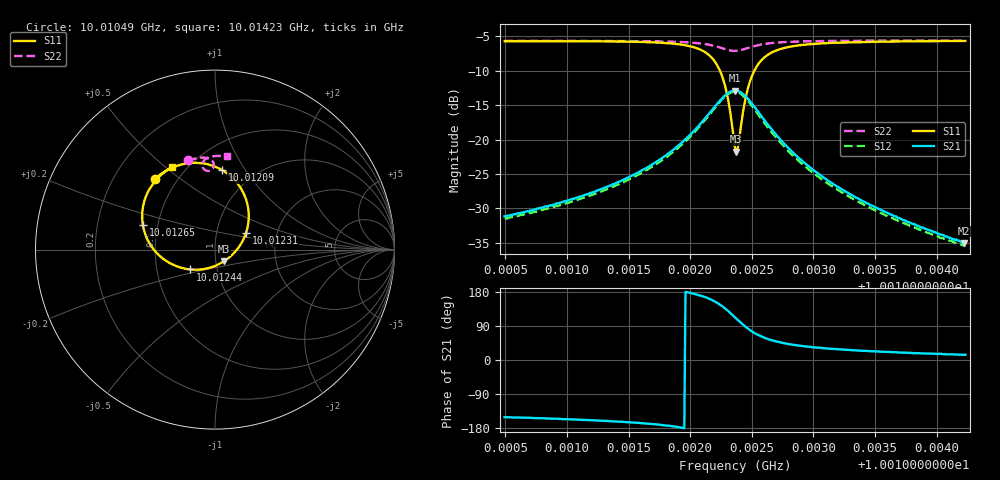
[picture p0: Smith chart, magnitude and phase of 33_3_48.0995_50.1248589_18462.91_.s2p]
#  HZ  S  RI  R  50.00
! Rohde & Schwarz Vector Network Analyzer
! Rohde-Schwarz,ZNB20-2Port,1311601062101988,3.16
! Created: UTC 12/23/2023, 3:37:58 AM
! freq[Hz]  re:S11  im:S11  re:S21  im:S21  re:S12  im:S12  re:S22  im:S22
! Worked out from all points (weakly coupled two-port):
!   401 points, 10.01049 GHz to 10.01423 GHz, reference 50 ohm
!   highest |S21| = -12.90 dB at 10.01236 GHz (marker M1); lowest = -35.0 dB at 10.01422 GHz (marker M2)
!   lowest |S11| = -21.7 dB at 10.01237 GHz (marker M3), VSWR 1.18, Z = 54.7 - j7.18 ohm
!   |S11| at or under -10 dB: 10.01224 GHz to 10.01252 GHz (279.6 kHz wide, 0.00279 % of centre)
!   |S22| runs from -7.1 to -5.6 dB; largest |S21 - S12| = 0.01
!   S11 on the Smith chart (normalised r, x): 10.01049 GHz: 0.38, +0.41; 10.01209 GHz: 0.72, +0.79; 10.01231 GHz: 1.39, +0.26; 10.01244 GHz: 0.74, -0.17; 10.01265 GHz: 0.41, +0.14; 10.01423 GHz: 0.42, +0.53
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1.0010493e10  -0.3346 0.3952  -0.0242 -0.0135  -0.0226 -0.0143  -0.1504 0.4973
1.0011119e10  -0.2775 0.4364  -0.0361 -0.0146  -0.0339 -0.0159  -0.1079 0.5083
1.0011475e10  -0.2256 0.4618  -0.0499 -0.0147  -0.0471 -0.0165  -0.0811 0.5121
1.0011746e10  -0.1589 0.48  -0.0699 -0.0116  -0.0667 -0.0148  -0.0575 0.5124
1.0011933e10  -0.0787 0.4818  -0.0952 -0.00195  -0.0918 -0.00731  -0.0378 0.5087
1.0012092e10  0.0391 0.4435  -0.1303 0.0254  -0.128 0.0172  -0.018 0.4971
1.0012223e10  0.1665 0.297  -0.1586 0.0927  -0.1599 0.0827  -0.00638 0.4712
1.001227e10  0.1881 0.1912  -0.1553 0.1328  -0.158 0.1235  -0.00924 0.4574
1.0012307e10  0.1727 0.0915  -0.1386 0.1679  -0.1424 0.1597  -0.0167 0.4467
1.0012363e10  0.0724 -0.0492  -0.0862 0.2095  -0.0916 0.2022  -0.0363 0.4384
1.0012373e10  0.0495 -0.0652  -0.0762 0.213  -0.081 0.206  -0.04 0.4383
1.0012391e10  -0.00157 -0.0922  -0.0544 0.2177  -0.0591 0.2108  -0.047 0.4394
1.0012438e10  -0.1394 -0.1105  -0.0027 0.2107  -0.00679 0.2039  -0.0617 0.4485
1.0012476e10  -0.2344 -0.084  0.0305 0.1919  0.025 0.1855  -0.0681 0.459
1.0012522e10  -0.3177 -0.0259  0.056 0.1628  0.0489 0.1575  -0.0704 0.4724
1.0012653e10  -0.402 0.137  0.0728 0.0964  0.0664 0.0941  -0.0603 0.4973
1.0012803e10  -0.3989 0.2497  0.0638 0.057  0.0584 0.0567  -0.0435 0.5102
1.001299e10  -0.3719 0.3247  0.0506 0.034  0.0464 0.0344  -0.0247 0.517
1.0013299e10  -0.3292 0.3871  0.0361 0.0175  0.0333 0.0185  0.00146 0.5211
1.0013617e10  -0.2933 0.4224  0.0269 0.0105  0.0249 0.0113  0.0255 0.5219
1.0014225e10  -0.2382 0.4617  0.0172 0.00424  0.0162 0.00497  0.0679 0.5194
1.0014234e10  -0.2374 0.4622  0.0172 0.00426  0.0161 0.00496  0.0685 0.5194
